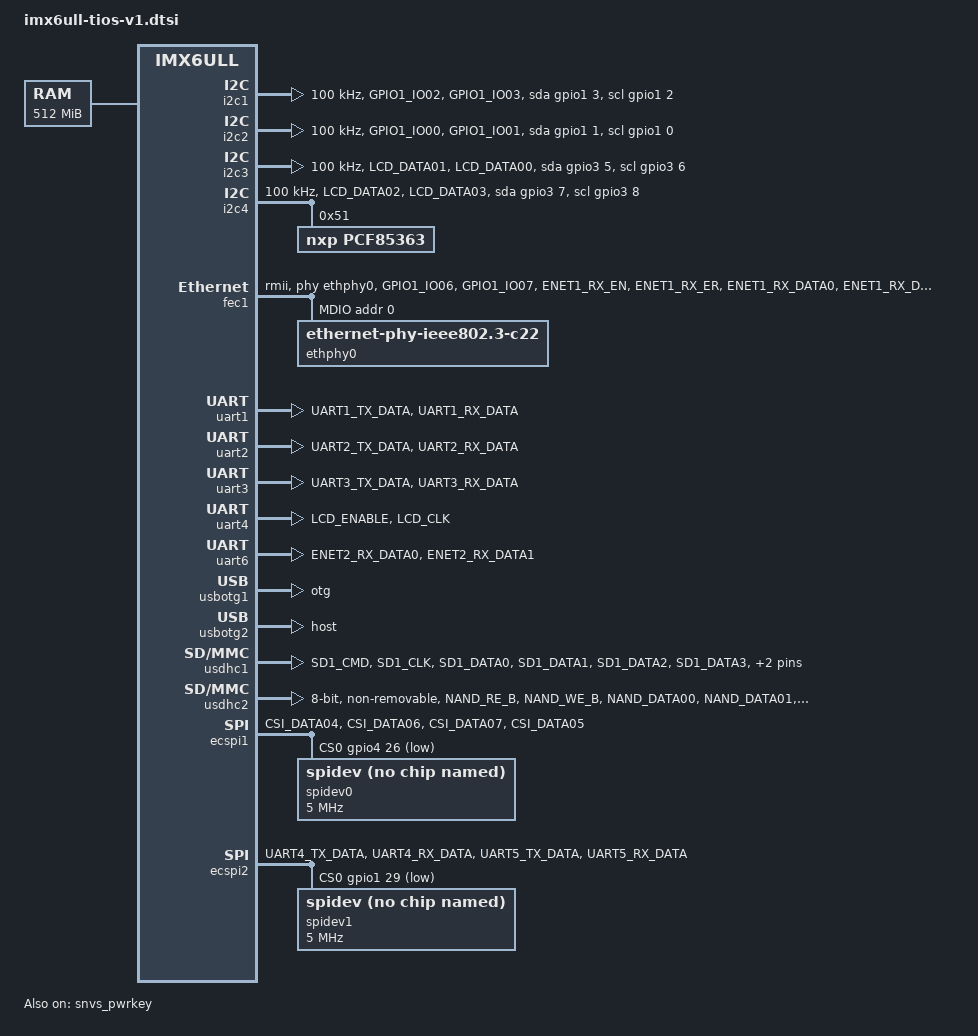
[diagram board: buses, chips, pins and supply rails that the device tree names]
// SPDX-License-Identifier: GPL-2.0
/*
 * Copyright (C) 2022 IO Stuff
 * Author: Michiel
 */

#include "imx6ull.dtsi"

/ {
	chosen {
		stdout-path = &uart1;
	};

	memory@80000000 {
		device_type = "memory";
		reg = <0x80000000 0x20000000>;
	};
};
/* I2C */
&i2c1 {
	clock-frequency = <100000>;				// Not sure if needed to specify
	pinctrl-names = "default", "gpio";
	pinctrl-0 = <&pinctrl_i2c1>;
	pinctrl-1 = <&pinctrl_i2c1_gpio>;   // second iomux group
	sda-gpios = <&gpio1 3 (GPIO_ACTIVE_HIGH | GPIO_OPEN_DRAIN)>;
	scl-gpios = <&gpio1 2 (GPIO_ACTIVE_HIGH | GPIO_OPEN_DRAIN)>;
	status = "okay";
};
&i2c2 {	
	clock-frequency = <100000>;				// Not sure if needed to specify
	pinctrl-names = "default", "gpio";
	pinctrl-0 = <&pinctrl_i2c2>;
	pinctrl-1 = <&pinctrl_i2c2_gpio>;   // second iomux group
	sda-gpios = <&gpio1 1 (GPIO_ACTIVE_HIGH | GPIO_OPEN_DRAIN)>;
	scl-gpios = <&gpio1 0 (GPIO_ACTIVE_HIGH | GPIO_OPEN_DRAIN)>;
	status = "okay";
};
&i2c3 {
	clock-frequency = <100000>;				// Not sure if needed to specify
	pinctrl-names = "default", "gpio";
	pinctrl-0 = <&pinctrl_i2c3>;
	pinctrl-1 = <&pinctrl_i2c3_gpio>;   // second iomux group
	sda-gpios = <&gpio3 5 (GPIO_ACTIVE_HIGH | GPIO_OPEN_DRAIN)>;
	scl-gpios = <&gpio3 6 (GPIO_ACTIVE_HIGH | GPIO_OPEN_DRAIN)>;
	status = "okay";
};
&i2c4 {
	clock-frequency = <100000>;				// Not sure if needed to specify
	pinctrl-names = "default", "gpio";
	pinctrl-0 = <&pinctrl_i2c4>;	
	pinctrl-1 = <&pinctrl_i2c4_gpio>;   // second iomux group
	sda-gpios = <&gpio3 7 (GPIO_ACTIVE_HIGH | GPIO_OPEN_DRAIN)>;
	scl-gpios = <&gpio3 8 (GPIO_ACTIVE_HIGH | GPIO_OPEN_DRAIN)>;
	status = "okay";
	
	/* RTC */
	pcf85363: pcf85363@51 {
		compatible = "nxp,pcf85363";
		reg = <0x51>;
	};
};
/* ethernet */
&fec1 {
	pinctrl-names = "default";
	pinctrl-0 = <&pinctrl_enet1
							 &pinctrl_fec1_reset>;
	phy-mode = "rmii";
	phy-handle = <&ethphy0>;
	phy-reset-gpios = <&gpio5 6 GPIO_ACTIVE_LOW>;
	phy-reset-duration = <26>;
	status = "okay";

	mdio {
		#address-cells = <1>;
		#size-cells = <0>;

		ethphy0: ethernet-phy@0 {
			compatible = "ethernet-phy-ieee802.3-c22";
			reg = <0>;
			clocks = <&clks IMX6UL_CLK_ENET_REF>;
			clock-names = "rmii-ref";
		};
	};
};

&fec2 {
	status = "disabled";
};
/* UART */
&uart1 {
	pinctrl-names = "default";
	pinctrl-0 = <&pinctrl_uart1>;
	status = "okay";
};

&uart2 {
	pinctrl-names = "default";
	pinctrl-0 = <&pinctrl_uart2>;
	status = "okay";
};
&uart3 {
	pinctrl-names = "default";
	pinctrl-0 = <&pinctrl_uart3>;
	//uart-has-rtscts;
	status = "okay";
	
};
&uart4 {
	pinctrl-names = "default";
	pinctrl-0 = <&pinctrl_uart4>;
	status = "okay";
};
/*
&uart5 {
	pinctrl-names = "default";
	pinctrl-0 = <&pinctrl_uart5>;
	status = "okay";
};
*/
&uart6 {
	pinctrl-names = "default";
	pinctrl-0 = <&pinctrl_uart6>;
	status = "okay";
};

/* USB */
&usbotg1 {
	dr_mode = "otg";
	pinctrl-names = "default";
	status = "okay";
};

&usbotg2 {
	dr_mode = "host";
	disable-over-current;
	status = "okay";
};

&usbphy1 {
	fsl,tx-d-cal = <106>;
};

&usbphy2 {
	fsl,tx-d-cal = <106>;
};

/* USDHC */
&usdhc1 {
	pinctrl-names = "default", "state_100mhz", "state_200mhz";
	pinctrl-0 = <&pinctrl_usdhc1>;
	pinctrl-1 = <&pinctrl_usdhc1_100mhz>;
	pinctrl-2 = <&pinctrl_usdhc1_200mhz>;
	cd-gpios = <&gpio1 19 GPIO_ACTIVE_LOW>;
	keep-power-in-suspend;
	wakeup-source;
	status = "okay";
};

&usdhc2 {
	pinctrl-names = "default", "state_100mhz", "state_200mhz";
	pinctrl-0 = <&pinctrl_usdhc2_8bit>;
	pinctrl-1 = <&pinctrl_usdhc2_8bit_100mhz>;
	pinctrl-2 = <&pinctrl_usdhc2_8bit_200mhz>;
	bus-width = <8>;
	no-1-8-v;
	broken-cd;
	keep-power-in-suspend;
	non-removable;
	wakeup-source;
	status = "okay";
};

/* SPI */
&ecspi1 {
	pinctrl-names = "default";
	pinctrl-0 = <&pinctrl_ecspi1>;
	cs-gpios = <&gpio4 26 GPIO_ACTIVE_LOW>;
	status = "okay";

	spidev0: spi@0 {
		compatible = "spidev";
		reg = <0>;
		spi-max-frequency = <5000000>;
	};
};
&ecspi2 {
	pinctrl-names = "default";
	pinctrl-0 = <&pinctrl_ecspi2>;
	cs-gpios = <&gpio1 29 GPIO_ACTIVE_LOW>;
	status = "okay";

	spidev1: spi@0 {
		compatible = "spidev";
		reg = <0>;
		spi-max-frequency = <5000000>;
	};
};

&gpio1 {
	gpio-line-names = "I2C2_SCL",
					  "I2C2_SDA", 
					  "I2C1_SCL",
					  "I2C1_SDA",
					  "IO1.4",
					  "IO1.5",
					  "IO1.6",
					  "IO1.7",
					  "IO1.8",
					  "IO1.9",
					  "IO1.10",					  
					  "IO1.11", 
					  "IO1.12",
					  "IO1.13",
					  "IO1.14",
					  "IO1.15",
					  "IO1.16",
					  "IO1.17",
					  "IO1.18",
					  "SD1_CD",
					  "IO1.20",
					  "IO1.21", 
					  "IO1.22",
					  "IO1.23",
					  "IO1.24",
					  "IO1.25",
					  "ESP32_IO9",
					  "ESP32_EN",
					  "IO1.28",
					  "IO1.29",
					  "IO1.30",
					  "IO1.31";
};
&gpio2 {
	gpio-line-names = "IO2.0",
					  "IO2.1", 
					  "IO2.2",
					  "IO2.3",
					  "IO2.4",
					  "IO2.5",
					  "IO2.6",
					  "IO2.7",
					  "IO2.8",
					  "IO2.9",
					  "IO2.10",					  
					  "IO2.11", 
					  "IO2.12",
					  "IO2.13",
					  "IO2.14",
					  "IO2.15",
					  "IO2.16",
					  "IO2.17",
					  "IO2.18",
					  "IO2.19",
					  "IO2.20",
					  "IO2.21", 
					  "IO2.22",
					  "IO2.23",
					  "IO2.24",
					  "IO2.25",
					  "IO2.26",
					  "IO2.27",
					  "IO2.28",
					  "IO2.29",
					  "IO2.30",
					  "IO2.31";
};
&gpio3 {
	gpio-line-names = "IO3.0",
					  "IO3.1", 
					  "IO3.2",
					  "IO3.3",
					  "IO3.4",
					  "I2C3_SDA",
					  "I2C3_SCL",
					  "I2C4_SDA",
					  "I2C4_SCL",
					  "IO3.9",
					  "IO3.10",					  
					  "IO3.11", 
					  "IO3.12",
					  "IO3.13",
					  "IO3.14",
					  "IO3.15",
					  "IO3.16",
					  "IO3.17",
					  "IO3.18",
					  "IO3.19",
					  "IO3.20",
					  "IO3.21", 
					  "IO3.22",
					  "IO3.23",
					  "IO3.24",
					  "IO3.25",
					  "IO3.26",
					  "IO3.27",
					  "IO3.28",
					  "IO3.29",
					  "IO3.30",
					  "IO3.31";
};
&gpio5 {
	gpio-line-names = "IO5.0",
					  "IO5.1", 
					  "IO5.2",
					  "IO5.3",
					  "IO5.4",
					  "IO5.5",
					  "IO5.6",
					  "IO5.7",
					  "IO5.8",
					  "IO5.9",
					  "IO5.10",					  
					  "IO5.11", 
					  "IO5.12",
					  "IO5.13",
					  "IO5.14",
					  "IO5.15",
					  "IO5.16",
					  "IO5.17",
					  "IO5.18",
					  "IO5.19",
					  "IO5.20",
					  "IO5.21", 
					  "IO5.22",
					  "IO5.23",
					  "IO5.24",
					  "IO5.25",
					  "IO5.26",
					  "IO5.27",
					  "IO5.28",
					  "IO5.29",
					  "IO5.30",
					  "IO5.31";
};
/* Other */
&sdma {
	status = "okay";
};

&snvs_poweroff {
	status = "okay";
};
&snvs_pwrkey {
	status = "okay";
};


/* IO MUXING */
&iomuxc {
	pinctrl-names = "default";
	pinctrl-0 = <&pinctrl_gpio1 &pinctrl_gpio5>;
	
	/* GPIO */
	pinctrl_gpio1: gpio1-grp {
		fsl,pins = <		
			//MX6UL_PAD_GPIO1_IO00__GPIO1_IO00 	0x10b0 
			//MX6UL_PAD_GPIO1_IO01__GPIO1_IO01 	0x10b0 
			//MX6UL_PAD_GPIO1_IO02__GPIO1_IO02 	0x10b0 
			//MX6UL_PAD_GPIO1_IO03__GPIO1_IO03 	0x10b0 
			MX6UL_PAD_GPIO1_IO04__GPIO1_IO04 	0x10b0 
			MX6UL_PAD_GPIO1_IO05__GPIO1_IO05 	0x10b0 
//			MX6UL_PAD_GPIO1_IO06__GPIO1_IO06 	0x10b0 
//			MX6UL_PAD_GPIO1_IO07__GPIO1_IO07  	0x10b0 
			MX6UL_PAD_GPIO1_IO08__GPIO1_IO08  	0x10b0 
			MX6UL_PAD_GPIO1_IO09__GPIO1_IO09	0x10b0 
			MX6UL_PAD_UART3_CTS_B__GPIO1_IO26	0x10b0
			MX6UL_PAD_UART3_RTS_B__GPIO1_IO27	0x10b0
		>;
	};
	pinctrl_gpio5: gpio5-grp {
		fsl,pins = <
			MX6UL_PAD_SNVS_TAMPER0__GPIO5_IO00 	0x10b0 
			MX6UL_PAD_SNVS_TAMPER1__GPIO5_IO01 	0x10b0 
			MX6UL_PAD_SNVS_TAMPER2__GPIO5_IO02 	0x10b0 
			MX6UL_PAD_SNVS_TAMPER3__GPIO5_IO03 	0x10b0 
			MX6UL_PAD_SNVS_TAMPER4__GPIO5_IO04 	0x10b0 
			MX6UL_PAD_SNVS_TAMPER5__GPIO5_IO05 	0x10b0 
			MX6UL_PAD_SNVS_TAMPER6__GPIO5_IO06 	0x10b0 
			MX6UL_PAD_SNVS_TAMPER7__GPIO5_IO07  0x10b0 
			MX6UL_PAD_SNVS_TAMPER8__GPIO5_IO08  0x10b0 
			>;
	};		

	/* Ethernet */
	pinctrl_enet1: enet1grp {
		fsl,pins = <
			MX6UL_PAD_GPIO1_IO06__ENET1_MDIO		0x1b0b0
			MX6UL_PAD_GPIO1_IO07__ENET1_MDC			0x1b0b0
			MX6UL_PAD_ENET1_RX_EN__ENET1_RX_EN		0x1b0b0
			MX6UL_PAD_ENET1_RX_ER__ENET1_RX_ER		0x1b0b0
			MX6UL_PAD_ENET1_RX_DATA0__ENET1_RDATA00	0x1b0b0
			MX6UL_PAD_ENET1_RX_DATA1__ENET1_RDATA01	0x1b0b0
			MX6UL_PAD_ENET1_TX_EN__ENET1_TX_EN		0x1b0b0
			MX6UL_PAD_ENET1_TX_DATA0__ENET1_TDATA00	0x1b0b0
			MX6UL_PAD_ENET1_TX_DATA1__ENET1_TDATA01	0x1b0b0
			MX6UL_PAD_ENET1_TX_CLK__ENET1_REF_CLK1	0x4001b031
		>;
	};
	
	pinctrl_fec1_reset: fec1_resetgrp {
		fsl,pins = <
			MX6UL_PAD_SNVS_TAMPER9__GPIO5_IO09 0x79
		>;
	};
	/* I2C */
	pinctrl_i2c1: i2c1grp {
		fsl,pins = <
			MX6UL_PAD_GPIO1_IO02__I2C1_SCL 0x4001b8b0
			MX6UL_PAD_GPIO1_IO03__I2C1_SDA 0x4001b8b0
		>;
	};
	pinctrl_i2c1_gpio: i2c1grio {
		fsl,pins = <
			MX6UL_PAD_GPIO1_IO02__GPIO1_IO02 0x4001b8b0
			MX6UL_PAD_GPIO1_IO03__GPIO1_IO03 0x4001b8b0
		>;
	};
	
	pinctrl_i2c2: i2c2grp {
		fsl,pins = <
			MX6UL_PAD_GPIO1_IO00__I2C2_SCL 0x4001b8b0
			MX6UL_PAD_GPIO1_IO01__I2C2_SDA 0x4001b8b0
		>;
	};
	pinctrl_i2c2_gpio: i2c2grio {
		fsl,pins = <
			MX6UL_PAD_GPIO1_IO00__GPIO1_IO00 0x4001b8b0
			MX6UL_PAD_GPIO1_IO01__GPIO1_IO01 0x4001b8b0
		>;
	};
	
	pinctrl_i2c3: i2c3grp {
		fsl,pins = <
			MX6UL_PAD_LCD_DATA01__I2C3_SCL 0x4001b8b0
			MX6UL_PAD_LCD_DATA00__I2C3_SDA 0x4001b8b0
		>;
	};
	pinctrl_i2c3_gpio: i2c3grio {
		fsl,pins = <
			MX6UL_PAD_LCD_DATA01__GPIO3_IO06 0x4001b8b0
			MX6UL_PAD_LCD_DATA00__GPIO3_IO05 0x4001b8b0
		>;
	}; 
	
	pinctrl_i2c4: i2c4grp {
		fsl,pins = <
			MX6UL_PAD_LCD_DATA02__I2C4_SDA 0x4001b8b0
			MX6UL_PAD_LCD_DATA03__I2C4_SCL 0x4001b8b0
		>;
	};
	pinctrl_i2c4_gpio: i2c4grio {
		fsl,pins = <
			MX6UL_PAD_LCD_DATA02__GPIO3_IO07 0x4001b8b0
			MX6UL_PAD_LCD_DATA03__GPIO3_IO08 0x4001b8b0
		>;
	};
	
	/* SPI */
	pinctrl_ecspi1: spi1grp {
		fsl,pins = <
			MX6UL_PAD_CSI_DATA04__ECSPI1_SCLK	0x000a0
			MX6UL_PAD_CSI_DATA06__ECSPI1_MOSI	0x000a0
			MX6UL_PAD_CSI_DATA07__ECSPI1_MISO	0x100a0
			MX6UL_PAD_CSI_DATA05__GPIO4_IO26	0x1b0b0
		>;
	};
	pinctrl_ecspi2: sp2grp {
		fsl,pins = <
			MX6UL_PAD_UART4_TX_DATA__ECSPI2_SCLK 0x000a0
			MX6UL_PAD_UART4_RX_DATA__GPIO1_IO29	 0x1b0b0
			MX6UL_PAD_UART5_TX_DATA__ECSPI2_MOSI 0x000a0	
			MX6UL_PAD_UART5_RX_DATA__ECSPI2_MISO 0x100a0
		>;
	};		
	pinctrl_ecspi4: spi4grp {
		fsl,pins = <
			MX6UL_PAD_ENET2_TX_DATA1__ECSPI4_SCLK	0x000a0
			MX6UL_PAD_ENET2_TX_EN__ECSPI4_MOSI		0x000a0
			MX6UL_PAD_ENET2_TX_CLK__ECSPI4_MISO		0x100a0
			MX6UL_PAD_ENET2_RX_ER__GPIO2_IO15		0x1b0b0
		>;
	};

	/* UART */
	pinctrl_uart1: uart1grp {
		fsl,pins = <
			MX6UL_PAD_UART1_TX_DATA__UART1_DCE_TX 0x1b0b1
			MX6UL_PAD_UART1_RX_DATA__UART1_DCE_RX 0x1b0b1
		>;
	};

	pinctrl_uart2: uart2grp {
		fsl,pins = <
			MX6UL_PAD_UART2_TX_DATA__UART2_DCE_TX	0x1b0b1
			MX6UL_PAD_UART2_RX_DATA__UART2_DCE_RX	0x1b0b1
		>;
	};
	pinctrl_uart3: uart3grp {
		fsl,pins = <
			MX6UL_PAD_UART3_TX_DATA__UART3_DCE_TX	0x1b0b1
			MX6UL_PAD_UART3_RX_DATA__UART3_DCE_RX	0x1b0b1
			
		>;
	};
	pinctrl_uart4: uart4grp {
		fsl,pins = <
			MX6UL_PAD_LCD_ENABLE__UART4_DCE_RX		0x1b0b1
			MX6UL_PAD_LCD_CLK__UART4_DCE_TX			0x1b0b1
		>;
	};
	pinctrl_uart5: uart5grp {
		fsl,pins = <
			MX6UL_PAD_GPIO1_IO04__UART5_DCE_TX		0x1b0b1
			MX6UL_PAD_GPIO1_IO05__UART5_DCE_RX		0x1b0b1
		>;
	};
	pinctrl_uart6: uart6grp {
		fsl,pins = <
			MX6UL_PAD_ENET2_RX_DATA0__UART6_DCE_TX	0x1b0b1
			MX6UL_PAD_ENET2_RX_DATA1__UART6_DCE_RX	0x1b0b1
		>;
	};
	/* USDHC */
	pinctrl_usdhc1: usdhc1grp {
		fsl,pins = <
			MX6UL_PAD_SD1_CMD__USDHC1_CMD     		0x17059
			MX6UL_PAD_SD1_CLK__USDHC1_CLK			0x10071
			MX6UL_PAD_SD1_DATA0__USDHC1_DATA0 		0x17059
			MX6UL_PAD_SD1_DATA1__USDHC1_DATA1 		0x17059
			MX6UL_PAD_SD1_DATA2__USDHC1_DATA2 		0x17059
			MX6UL_PAD_SD1_DATA3__USDHC1_DATA3 		0x17059
			MX6UL_PAD_UART1_RTS_B__GPIO1_IO19       0x17059 /* SD1 CD */
		//  MX6UL_PAD_GPIO1_IO05__USDHC1_VSELECT  0x17059   /* SD1 VSELECT */
		//	MX6UL_PAD_GPIO1_IO09__GPIO1_IO09        0x17059 /* SD1 RESET */
		>;
	};

	pinctrl_usdhc1_100mhz: usdhc1grp100mhz {
		fsl,pins = <
			MX6UL_PAD_SD1_CMD__USDHC1_CMD     0x170b9
			MX6UL_PAD_SD1_CLK__USDHC1_CLK     0x100b9
			MX6UL_PAD_SD1_DATA0__USDHC1_DATA0 0x170b9
			MX6UL_PAD_SD1_DATA1__USDHC1_DATA1 0x170b9
			MX6UL_PAD_SD1_DATA2__USDHC1_DATA2 0x170b9
			MX6UL_PAD_SD1_DATA3__USDHC1_DATA3 0x170b9

		>;
	};

	pinctrl_usdhc1_200mhz: usdhc1grp200mhz {
		fsl,pins = <
			MX6UL_PAD_SD1_CMD__USDHC1_CMD     0x170f9
			MX6UL_PAD_SD1_CLK__USDHC1_CLK     0x100f9
			MX6UL_PAD_SD1_DATA0__USDHC1_DATA0 0x170f9
			MX6UL_PAD_SD1_DATA1__USDHC1_DATA1 0x170f9
			MX6UL_PAD_SD1_DATA2__USDHC1_DATA2 0x170f9
			MX6UL_PAD_SD1_DATA3__USDHC1_DATA3 0x170f9
		>;
	};

	pinctrl_usdhc2: usdhc2grp {
		fsl,pins = <
			MX6UL_PAD_NAND_RE_B__USDHC2_CLK     0x17059
			MX6UL_PAD_NAND_WE_B__USDHC2_CMD     0x17059
			MX6UL_PAD_NAND_DATA00__USDHC2_DATA0 0x17059
			MX6UL_PAD_NAND_DATA01__USDHC2_DATA1 0x17059
			MX6UL_PAD_NAND_DATA02__USDHC2_DATA2 0x17059
			MX6UL_PAD_NAND_DATA03__USDHC2_DATA3 0x17059
		>;
	};

	pinctrl_usdhc2_8bit: usdhc2grp_8bit {
		fsl,pins = <
			MX6UL_PAD_NAND_RE_B__USDHC2_CLK     0x10069
			MX6UL_PAD_NAND_WE_B__USDHC2_CMD     0x17059
			MX6UL_PAD_NAND_DATA00__USDHC2_DATA0 0x17059
			MX6UL_PAD_NAND_DATA01__USDHC2_DATA1 0x17059
			MX6UL_PAD_NAND_DATA02__USDHC2_DATA2 0x17059
			MX6UL_PAD_NAND_DATA03__USDHC2_DATA3 0x17059
			MX6UL_PAD_NAND_DATA04__USDHC2_DATA4 0x17059
			MX6UL_PAD_NAND_DATA05__USDHC2_DATA5 0x17059
			MX6UL_PAD_NAND_DATA06__USDHC2_DATA6 0x17059
			MX6UL_PAD_NAND_DATA07__USDHC2_DATA7 0x17059
		>;
	};

	pinctrl_usdhc2_8bit_100mhz: usdhc2grp_8bit_100mhz {
		fsl,pins = <
			MX6UL_PAD_NAND_RE_B__USDHC2_CLK     0x100b9
			MX6UL_PAD_NAND_WE_B__USDHC2_CMD     0x170b9
			MX6UL_PAD_NAND_DATA00__USDHC2_DATA0 0x170b9
			MX6UL_PAD_NAND_DATA01__USDHC2_DATA1 0x170b9
			MX6UL_PAD_NAND_DATA02__USDHC2_DATA2 0x170b9
			MX6UL_PAD_NAND_DATA03__USDHC2_DATA3 0x170b9
			MX6UL_PAD_NAND_DATA04__USDHC2_DATA4 0x170b9
			MX6UL_PAD_NAND_DATA05__USDHC2_DATA5 0x170b9
			MX6UL_PAD_NAND_DATA06__USDHC2_DATA6 0x170b9
			MX6UL_PAD_NAND_DATA07__USDHC2_DATA7 0x170b9
		>;
	};

	pinctrl_usdhc2_8bit_200mhz: usdhc2grp_8bit_200mhz {
		fsl,pins = <
			MX6UL_PAD_NAND_RE_B__USDHC2_CLK     0x100f9
			MX6UL_PAD_NAND_WE_B__USDHC2_CMD     0x170f9
			MX6UL_PAD_NAND_DATA00__USDHC2_DATA0 0x170f9
			MX6UL_PAD_NAND_DATA01__USDHC2_DATA1 0x170f9
			MX6UL_PAD_NAND_DATA02__USDHC2_DATA2 0x170f9
			MX6UL_PAD_NAND_DATA03__USDHC2_DATA3 0x170f9
			MX6UL_PAD_NAND_DATA04__USDHC2_DATA4 0x170f9
			MX6UL_PAD_NAND_DATA05__USDHC2_DATA5 0x170f9
			MX6UL_PAD_NAND_DATA06__USDHC2_DATA6 0x170f9
			MX6UL_PAD_NAND_DATA07__USDHC2_DATA7 0x170f9
		>;
	};
};

